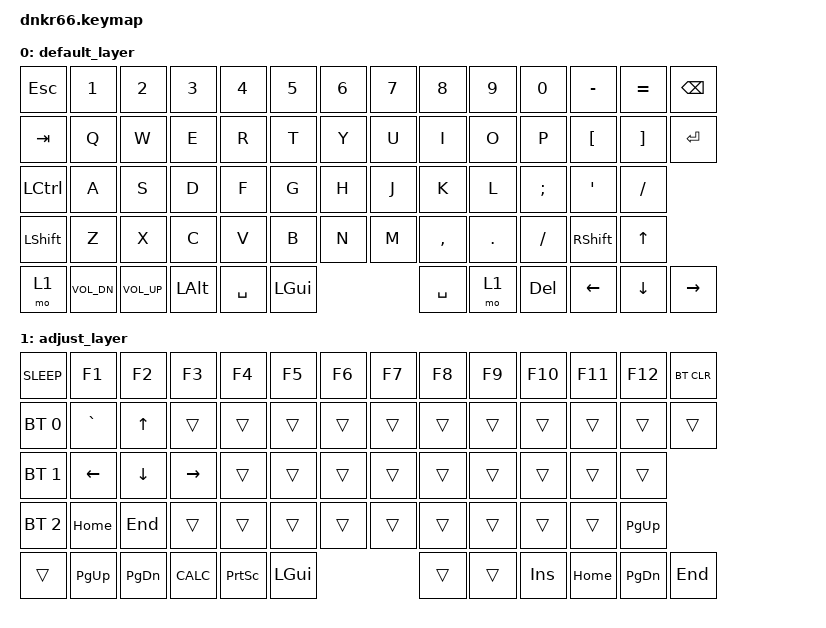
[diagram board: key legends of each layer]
/*
 * Copyright (c) 2022 The ZMK Contributors
 *
 * SPDX-License-Identifier: MIT
 */

#include <behaviors.dtsi>
#include <dt-bindings/zmk/keys.h>
#include <dt-bindings/zmk/bt.h>
#include <dt-bindings/zmk/outputs.h>

/ {
        keymap {
                compatible = "zmk,keymap";

                default_layer {
                        bindings = <
	&kp ESC   &kp N1       &kp N2       &kp N3    &kp N4      &kp N5 &kp N6         &kp N7  &kp N8     &kp N9    &kp N0   &kp MINUS &kp EQUAL &kp BSPC
	&kp TAB   &kp Q        &kp W        &kp E     &kp R       &kp T     &kp Y       &kp U   &kp I      &kp O     &kp P    &kp LBKT  &kp RBKT  &kp RET
	&kp LCTRL &kp A        &kp S        &kp D     &kp F       &kp G     &kp H       &kp J   &kp K      &kp L     &kp SEMI &kp SQT   &kp SLASH
	&kp LSHFT &kp Z        &kp X        &kp C     &kp V       &kp B     &kp N       &kp M   &kp COMMA  &kp DOT   &kp FSLH &kp RSHFT &kp UP
	&mo 1     &kp C_VOL_DN &kp C_VOL_UP &kp LALT  &kp SPACE   &kp LGUI  &kp SPACE   &mo 1   &kp DEL                       &kp LEFT  &kp DOWN  &kp RIGHT
                        >;
                };
                adjust_layer {
                        bindings = <
    &kp K_SLEEP  &kp F1    &kp F2    &kp F3     &kp F4    &kp F5   &kp F6 &kp F7 &kp F8 &kp F9 &kp F10 &kp F11  &kp F12   &bt BT_CLR
	&bt BT_SEL 0 &kp GRAVE &kp UP    &trans     &trans    &trans   &trans &trans &trans &trans &trans  &trans   &trans    &trans
	&bt BT_SEL 1 &kp LEFT  &kp DOWN  &kp RIGHT  &trans    &trans   &trans &trans &trans &trans &trans  &trans   &trans
	&bt BT_SEL 2 &kp HOME  &kp END   &trans     &trans    &trans   &trans &trans &trans &trans &trans  &trans   &kp PG_UP
	&trans       &kp PG_UP &kp PG_DN &kp K_CALC &kp PSCRN &kp LGUI &trans &trans &kp INS               &kp HOME &kp PG_DN &kp END
                        >;
                };
        };
};
